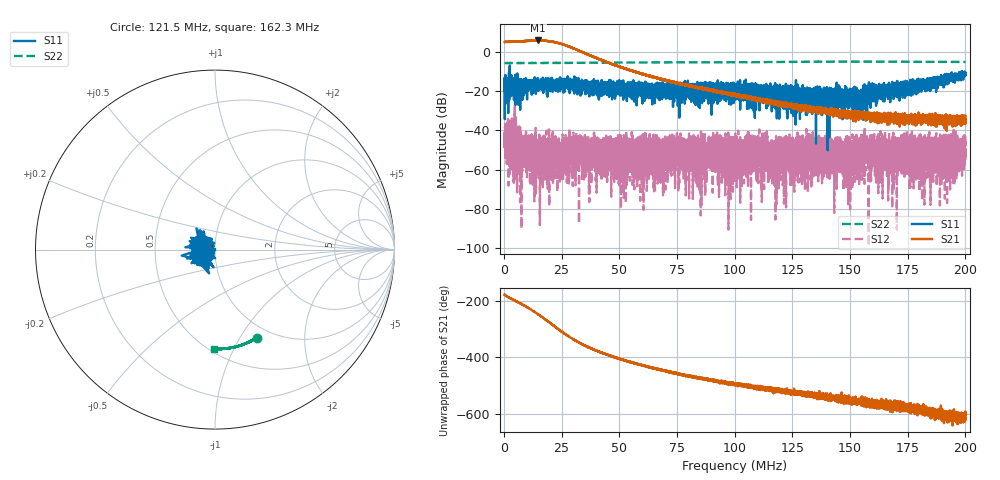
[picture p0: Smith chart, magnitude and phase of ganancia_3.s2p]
# Hz S DB R 50
! CMT, M5065, 19127446, 24.2.4/2
! Date: 11/8/2024 3:46:02 PM
! Data: Format (Calibration Info)
! Freq	S11:dB/Ang(F2)	S21:dB/Ang(F2)	S12:dB/Ang(F2)	S22:dB/Ang(F2)
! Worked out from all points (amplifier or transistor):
!   9000 points, 300 kHz to 200 MHz, reference 50 ohm
!   highest |S21| = 5.6 dB at 14.81 MHz (marker M1)
!   |S21| within 3 dB of that: start of sweep to 27.91 MHz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
!   unconditionally stable (mu >= 1): start of sweep to end of sweep
!   at 33.59 MHz: K = 87.58, MAG = 1.3 dB, |S12| = -47.6 dB
!   at 100.2 MHz: K = 2854.90, MAG = -20.4 dB, |S12| = -56.3 dB
!   at 200 MHz: K = 11316.77, MAG = -33.7 dB, |S12| = -55.2 dB
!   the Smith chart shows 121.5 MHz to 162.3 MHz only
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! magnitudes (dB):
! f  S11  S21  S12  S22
! 300 kHz  -13.5  4.8  -42.2  -5.8
! 7.068 MHz  -15.6  5.2  -46.4  -5.8
! 9.265 MHz  -16.8  5.4  -42.7  -5.8
! 14.81 MHz  -13.6  5.6  -48.8  -5.8
! 33.59 MHz  -19.1  -0.1  -47.6  -5.8
! 41.07 MHz  -18.6  -3.8  -46.6  -5.7
! 66.87 MHz  -18.9  -13.7  -46.8  -5.5
! 86 MHz  -18.4  -18.8  -51.4  -5.5
! 91.53 MHz  -18.5  -20.1  -47.5  -5.4
! 93.41 MHz  -18.9  -20.8  -60.9  -5.5
! 100.2 MHz  -20.1  -21.9  -56.3  -5.4
! 123.6 MHz  -22.8  -27.4  -54.6  -5.3
! 129.7 MHz  -23.0  -28.1  -47.7  -5.2
! 133.4 MHz  -22.1  -30.3  -54.3  -5.2
! 140.5 MHz  -24.1  -31.5  -48.4  -5.2
! 144.9 MHz  -23.2  -31.6  -46.6  -5.1
! 150.2 MHz  -22.3  -32.1  -49.7  -5.1
! 154.8 MHz  -24.7  -32.6  -46.4  -5.1
! 157.4 MHz  -21.8  -32.0  -49.1  -5.1
! 166.7 MHz  -18.9  -33.5  -49.1  -5.2
! 198.7 MHz  -11.0  -33.3  -51.3  -5.3
! 200 MHz  -11.2  -35.6  -55.2  -5.3
